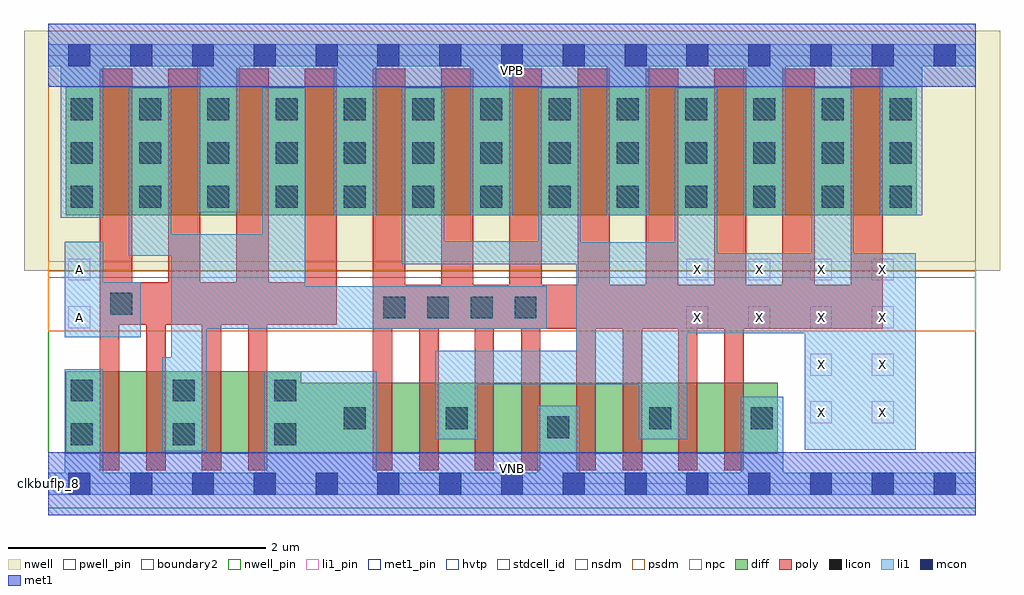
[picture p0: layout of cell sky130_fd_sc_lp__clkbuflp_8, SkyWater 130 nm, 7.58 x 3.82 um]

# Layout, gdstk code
import gdstk
lib = gdstk.Library(unit=1e-6, precision=1e-09)
def R(c, l, rs):  # rectangles x0, y0, x1, y1
    for r in rs: c.add(gdstk.rectangle(r[:2], r[2:], *l))
def A(c, l, x, y, w, h, nx, ny, dx, dy):  # array of equal rectangles
    R(c, l, [(x+i*dx, y+j*dy, x+i*dx+w, y+j*dy+h) for i in range(nx) for j in range(ny)])
def P(c, l, *ps):  # polygons
    for p in ps: c.add(gdstk.Polygon(p, *l))
nwell_pin = (64, 16)
nwell = (64, 20)
diff = (65, 20)
poly = (66, 20)
licon = (66, 44)
li1_pin = (67, 16)
li1 = (67, 20)
mcon = (67, 44)
met1_pin = (68, 16)
met1 = (68, 20)
hvtp = (78, 44)
stdcell_id = (81, 4)
nsdm = (93, 44)
psdm = (94, 20)
npc = (95, 20)
pwell_pin = (122, 16)
boundary2 = (236, 0)

sky130_fd_sc_lp__clkbufl = lib.new_cell('sky130_fd_sc_lp__clkbuflp_8')
R(sky130_fd_sc_lp__clkbufl, nwell_pin, [(0,3.085,7.2,3.33)])
R(sky130_fd_sc_lp__clkbufl, nwell, [(-0.19,1.655,7.39,3.52)])
R(sky130_fd_sc_lp__clkbufl, diff, [(0.135,2.085,6.745,3.085)])
P(sky130_fd_sc_lp__clkbufl, diff, [(5.665,0.785),(1.965,0.785),(1.965,0.875),(0.135,0.875),(0.135,0.235),(5.665,0.235)])
P(sky130_fd_sc_lp__clkbufl, poly, [(2.24,3.225),(1.99,3.225),(1.99,1.565),(1.71,1.565),(1.71,3.225),(1.46,3.225),(1.46,1.565),(1.18,1.565),(1.18,3.225),(0.93,3.225),(0.93,1.565),(0.65,1.565),(0.65,3.225),(0.4,3.225),(0.4,0.105),(0.55,0.105),(0.55,1.235),(0.76,1.235),(0.76,0.105),(0.91,0.105),(0.91,1.235),(1.19,1.235),(1.19,0.105),(1.34,0.105),(1.34,1.235),(1.55,1.235),(1.55,0.105),(1.7,0.105),(1.7,1.235),(2.24,1.235)],
  [(6.48,3.225),(6.23,3.225),(6.23,1.545),(5.95,1.545),(5.95,3.225),(5.7,3.225),(5.7,1.545),(5.42,1.545),(5.42,3.225),(5.17,3.225),(5.17,1.545),(4.89,1.545),(4.89,3.225),(4.64,3.225),(4.64,1.545),(4.36,1.545),(4.36,3.225),(4.11,3.225),(4.11,1.545),(3.83,1.545),(3.83,3.225),(3.58,3.225),(3.58,1.545),(3.3,1.545),(3.3,3.225),(3.05,3.225),(3.05,1.545),(2.77,1.545),(2.77,3.225),(2.52,3.225),(2.52,0.105),(2.67,0.105),(2.67,1.205),(2.88,1.205),(2.88,0.105),(3.03,0.105),(3.03,1.205),(3.31,1.205),(3.31,0.105),(3.46,0.105),(3.46,1.205),(3.67,1.205),(3.67,0.105),(3.82,0.105),(3.82,1.205),(4.1,1.205),(4.1,0.105),(4.25,0.105),(4.25,1.205),(4.46,1.205),(4.46,0.105),(4.61,0.105),(4.61,1.205),(4.89,1.205),(4.89,0.105),(5.04,0.105),(5.04,1.205),(5.25,1.205),(5.25,0.105),(5.4,0.105),(5.4,1.205),(6.48,1.205)])
A(sky130_fd_sc_lp__clkbufl, licon, 0.175, 0.3, 0.17, 0.17, 3, 2, 0.79, 0.34)
A(sky130_fd_sc_lp__clkbufl, licon, 2.6, 1.285, 0.17, 0.17, 4, 1, 0.34, 0)
A(sky130_fd_sc_lp__clkbufl, licon, 0.175, 2.145, 0.17, 0.17, 13, 3, 0.53, 0.34)
R(sky130_fd_sc_lp__clkbufl, licon, [(3.875,0.355,4.045,0.525), (2.295,0.425,2.465,0.595), (3.085,0.425,3.255,0.595), (4.665,0.425,4.835,0.595), (5.455,0.425,5.625,0.595), (0.48,1.315,0.65,1.485)])
A(sky130_fd_sc_lp__clkbufl, li1_pin, 4.955, 1.21, 0.17, 0.17, 4, 2, 0.48, 0.37)
R(sky130_fd_sc_lp__clkbufl, li1_pin, [(5.915,0.47,6.085,0.64), (6.395,0.47,6.565,0.64), (5.915,0.84,6.085,1.01), (6.395,0.84,6.565,1.01), (0.155,1.21,0.325,1.38), (0.155,1.58,0.325,1.75)])
P(sky130_fd_sc_lp__clkbufl, li1, [(0.715,1.565),(0.425,1.565),(0.425,1.88),(0.125,1.88),(0.125,1.14),(0.715,1.14)],
  [(3.87,1.535),(1.995,1.535),(1.995,3.075),(1.66,3.075),(1.66,1.94),(0.955,1.94),(0.955,3.075),(0.625,3.075),(0.625,1.77),(0.955,1.77),(0.955,0.985),(0.885,0.985),(0.885,0.255),(1.23,0.255),(1.23,1.205),(3.87,1.205)],
  [(6.735,1.79),(6.255,1.79),(6.255,3.075),(5.925,3.075),(5.925,1.79),(5.195,1.79),(5.195,3.075),(4.865,3.075),(4.865,1.875),(4.135,1.875),(4.135,3.075),(3.805,3.075),(3.805,1.885),(3.075,1.885),(3.075,3.075),(2.745,3.075),(2.745,1.705),(4.1,1.705),(4.1,1.035),(3.005,1.035),(3.005,0.345),(3.335,0.345),(3.335,0.775),(4.585,0.775),(4.585,0.345),(4.96,0.345),(4.96,1.17),(5.875,1.17),(5.875,0.265),(6.735,0.265)],
  [(7.2,3.415),(0,3.415),(0,3.245),(0.095,3.245),(0.095,2.065),(0.425,2.065),(0.425,3.245),(1.155,3.245),(1.155,2.11),(1.485,2.11),(1.485,3.245),(2.215,3.245),(2.215,2.085),(2.545,2.085),(2.545,3.245),(3.275,3.245),(3.275,2.085),(3.605,2.085),(3.605,3.245),(4.335,3.245),(4.335,2.085),(4.665,2.085),(4.665,3.245),(5.395,3.245),(5.395,2.085),(5.725,2.085),(5.725,3.245),(6.455,3.245),(6.455,2.085),(6.785,2.085),(6.785,3.245),(7.2,3.245)],
  [(7.2,0.085),(5.705,0.085),(5.705,0.675),(5.375,0.675),(5.375,0.085),(4.125,0.085),(4.125,0.605),(3.795,0.605),(3.795,0.085),(2.55,0.085),(2.55,0.875),(1.675,0.875),(1.675,0.085),(0.425,0.085),(0.425,0.89),(0.125,0.89),(0.125,0.085),(0,0.085),(0,-0.085),(7.2,-0.085)])
A(sky130_fd_sc_lp__clkbufl, mcon, 0.155, -0.085, 0.17, 0.17, 15, 2, 0.48, 3.33)
R(sky130_fd_sc_lp__clkbufl, met1_pin, [(0,0,7.2,0.245), (0,3.085,7.2,3.33)])
R(sky130_fd_sc_lp__clkbufl, met1, [(0,-0.245,7.2,0.245), (0,3.085,7.2,3.575)])
R(sky130_fd_sc_lp__clkbufl, hvtp, [(0,1.6,7.2,3.33)])
R(sky130_fd_sc_lp__clkbufl, stdcell_id, [(0,0,7.2,3.33)])
R(sky130_fd_sc_lp__clkbufl, nsdm, [(0,-0.19,7.2,1.655)])
R(sky130_fd_sc_lp__clkbufl, psdm, [(0,1.655,7.2,3.52)])
R(sky130_fd_sc_lp__clkbufl, npc, [(0,1.185,7.2,1.73)])
R(sky130_fd_sc_lp__clkbufl, pwell_pin, [(0,0,7.2,0.245)])
R(sky130_fd_sc_lp__clkbufl, boundary2, [(0,0,7.2,3.33)])
sky130_fd_sc_lp__clkbufl.add(gdstk.Label('VNB', (3.6,0.123), layer=64, texttype=59))
sky130_fd_sc_lp__clkbufl.add(gdstk.Label('VPB', (3.6,3.208), layer=64, texttype=5))
sky130_fd_sc_lp__clkbufl.add(gdstk.Label('clkbuflp_8', (0,0), layer=83, texttype=44))
sky130_fd_sc_lp__clkbufl.add(gdstk.Label('VPWR', (3.6,3.208), layer=68, texttype=5))
sky130_fd_sc_lp__clkbufl.add(gdstk.Label('VGND', (3.6,0.123), layer=68, texttype=5))
sky130_fd_sc_lp__clkbufl.add(gdstk.Label('X', (6,0.925), layer=67, texttype=5))
sky130_fd_sc_lp__clkbufl.add(gdstk.Label('A', (0.24,1.665), layer=67, texttype=5))
sky130_fd_sc_lp__clkbufl.add(gdstk.Label('X', (6,0.555), layer=67, texttype=5))
sky130_fd_sc_lp__clkbufl.add(gdstk.Label('A', (0.24,1.295), layer=67, texttype=5))
sky130_fd_sc_lp__clkbufl.add(gdstk.Label('X', (6.48,0.555), layer=67, texttype=5))
sky130_fd_sc_lp__clkbufl.add(gdstk.Label('X', (6.48,0.925), layer=67, texttype=5))
sky130_fd_sc_lp__clkbufl.add(gdstk.Label('X', (6.48,1.665), layer=67, texttype=5))
sky130_fd_sc_lp__clkbufl.add(gdstk.Label('X', (6.48,1.295), layer=67, texttype=5))
sky130_fd_sc_lp__clkbufl.add(gdstk.Label('X', (5.04,1.295), layer=67, texttype=5))
sky130_fd_sc_lp__clkbufl.add(gdstk.Label('X', (5.04,1.665), layer=67, texttype=5))
sky130_fd_sc_lp__clkbufl.add(gdstk.Label('X', (6,1.295), layer=67, texttype=5))
sky130_fd_sc_lp__clkbufl.add(gdstk.Label('X', (6,1.665), layer=67, texttype=5))
sky130_fd_sc_lp__clkbufl.add(gdstk.Label('X', (5.52,1.295), layer=67, texttype=5))
sky130_fd_sc_lp__clkbufl.add(gdstk.Label('X', (5.52,1.665), layer=67, texttype=5))

lib.write_gds('sky130_fd_sc_lp__clkbuflp_8.gds')
